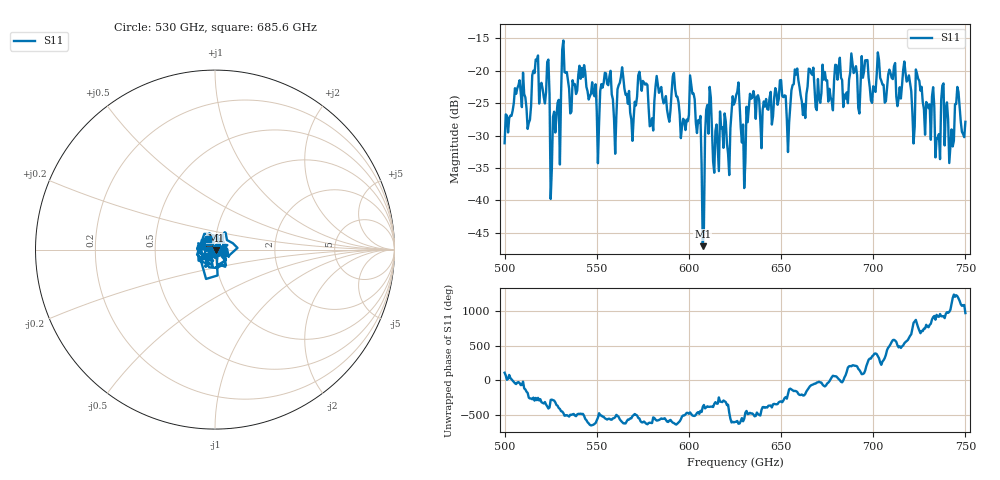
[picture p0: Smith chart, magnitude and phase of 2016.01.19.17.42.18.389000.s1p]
!Created with skrf (http://scikit-rf.org).
# GHz S RI R 50.0
!freq ReS11 ImS11
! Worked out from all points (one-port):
!   401 points, 500 GHz to 750 GHz, reference 50 ohm
!   lowest |S11| = -47.1 dB at 607.5 GHz (marker M1), VSWR 1.01, Z = 50.4 - j0.155 ohm
!   |S11| at or under -10 dB: start of sweep to end of sweep
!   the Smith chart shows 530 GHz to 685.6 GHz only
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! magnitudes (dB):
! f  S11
! 500 GHz  -31.2
! 506.9 GHz  -22.7
! 513.1 GHz  -28.0
! 516.9 GHz  -18.3
! 523.1 GHz  -18.7
! 526.2 GHz  -27.1
! 531.2 GHz  -16.8
! 550 GHz  -26.3
! 556.2 GHz  -22.2
! 559.4 GHz  -27.5
! 562.5 GHz  -21.9
! 569.4 GHz  -30.8
! 573.8 GHz  -21.5
! 579.4 GHz  -28.4
! 593.8 GHz  -24.0
! 601.9 GHz  -23.5
! 607.5 GHz  -47.1
! 610.6 GHz  -29.7
! 615 GHz  -28.3
! 625 GHz  -24.8
! 629.4 GHz  -28.3
! 634.4 GHz  -24.1
! 656.2 GHz  -22.2
! 687.5 GHz  -20.3
! 718.8 GHz  -21.5
! 735 GHz  -30.4
! 738.1 GHz  -22.0
! 750 GHz  -27.9
